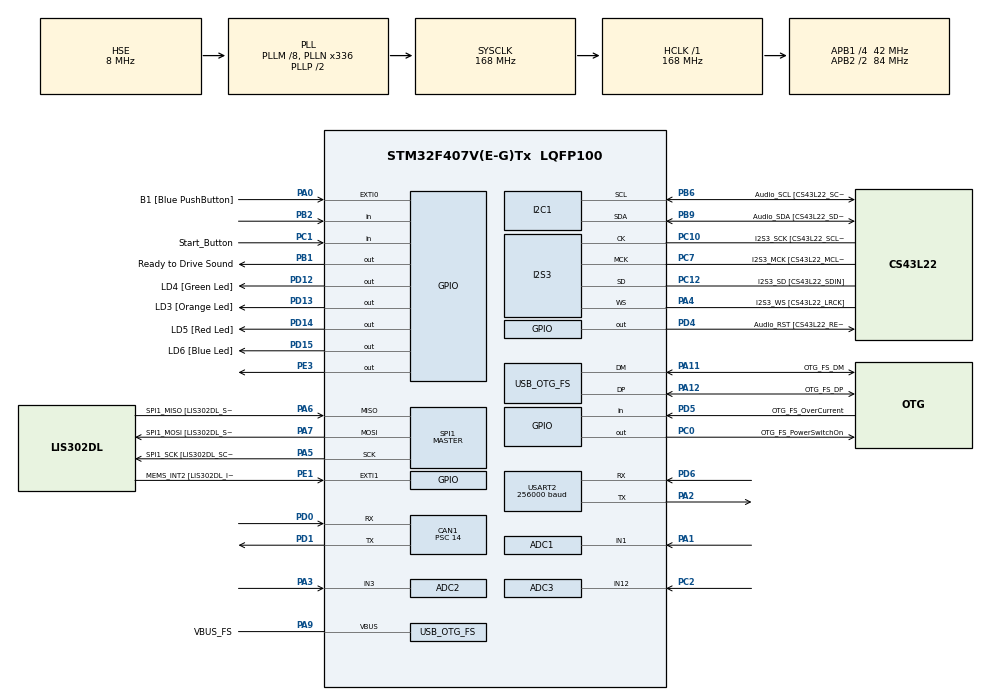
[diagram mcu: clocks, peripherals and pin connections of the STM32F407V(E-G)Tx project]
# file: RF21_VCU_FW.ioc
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ADC1.Channel-0\#ChannelRegularConversion=ADC_CHANNEL_1
ADC1.ContinuousConvMode=ENABLE
ADC1.DMAContinuousRequests=ENABLE
ADC1.NbrOfConversionFlag=1
ADC1.Rank-0\#ChannelRegularConversion=1
ADC1.SamplingTime-0\#ChannelRegularConversion=ADC_SAMPLETIME_3CYCLES
ADC1.master=1
ADC2.Channel-1\#ChannelRegularConversion=ADC_CHANNEL_3
ADC2.DMAContinuousRequests=ENABLE
ADC2.NbrOfConversionFlag=1
ADC2.Rank-1\#ChannelRegularConversion=1
ADC2.SamplingTime-1\#ChannelRegularConversion=ADC_SAMPLETIME_3CYCLES
ADC3.Channel-0\#ChannelRegularConversion=ADC_CHANNEL_12
ADC3.DMAContinuousRequests=ENABLE
ADC3.NbrOfConversionFlag=1
ADC3.Rank-0\#ChannelRegularConversion=1
ADC3.SamplingTime-0\#ChannelRegularConversion=ADC_SAMPLETIME_3CYCLES
CAN1.BS1=CAN_BS1_2TQ
CAN1.BS2=CAN_BS2_3TQ
CAN1.CalculateBaudRate=500000
CAN1.CalculateTimeBit=1999.99
CAN1.CalculateTimeQuantum=333.33333333333337
CAN1.Mode=CAN_MODE_NORMAL
CAN1.Prescaler=14
Dma.ADC1.0.Direction=DMA_PERIPH_TO_MEMORY
Dma.ADC1.0.FIFOMode=DMA_FIFOMODE_ENABLE
Dma.ADC1.0.FIFOThreshold=DMA_FIFO_THRESHOLD_FULL
Dma.ADC1.0.Instance=DMA2_Stream0
Dma.ADC1.0.MemBurst=DMA_MBURST_SINGLE
Dma.ADC1.0.MemDataAlignment=DMA_MDATAALIGN_HALFWORD
Dma.ADC1.0.MemInc=DMA_MINC_ENABLE
Dma.ADC1.0.Mode=DMA_CIRCULAR
Dma.ADC1.0.PeriphBurst=DMA_PBURST_SINGLE
Dma.ADC1.0.PeriphDataAlignment=DMA_PDATAALIGN_HALFWORD
Dma.ADC1.0.PeriphInc=DMA_PINC_DISABLE
Dma.ADC1.0.Priority=DMA_PRIORITY_LOW
Dma.ADC2.1.Direction=DMA_PERIPH_TO_MEMORY
Dma.ADC2.1.FIFOMode=DMA_FIFOMODE_ENABLE
Dma.ADC2.1.FIFOThreshold=DMA_FIFO_THRESHOLD_FULL
Dma.ADC2.1.Instance=DMA2_Stream2
Dma.ADC2.1.MemBurst=DMA_MBURST_SINGLE
Dma.ADC2.1.MemDataAlignment=DMA_MDATAALIGN_HALFWORD
Dma.ADC2.1.MemInc=DMA_MINC_ENABLE
Dma.ADC2.1.Mode=DMA_CIRCULAR
Dma.ADC2.1.PeriphBurst=DMA_PBURST_SINGLE
Dma.ADC2.1.PeriphDataAlignment=DMA_PDATAALIGN_HALFWORD
Dma.ADC2.1.PeriphInc=DMA_PINC_DISABLE
Dma.ADC2.1.Priority=DMA_PRIORITY_LOW
Dma.ADC3.2.Direction=DMA_PERIPH_TO_MEMORY
Dma.ADC3.2.FIFOMode=DMA_FIFOMODE_ENABLE
Dma.ADC3.2.FIFOThreshold=DMA_FIFO_THRESHOLD_FULL
Dma.ADC3.2.Instance=DMA2_Stream1
Dma.ADC3.2.MemBurst=DMA_MBURST_SINGLE
Dma.ADC3.2.MemDataAlignment=DMA_MDATAALIGN_HALFWORD
Dma.ADC3.2.MemInc=DMA_MINC_ENABLE
Dma.ADC3.2.Mode=DMA_CIRCULAR
Dma.ADC3.2.PeriphBurst=DMA_PBURST_SINGLE
Dma.ADC3.2.PeriphDataAlignment=DMA_PDATAALIGN_HALFWORD
Dma.ADC3.2.PeriphInc=DMA_PINC_DISABLE
Dma.ADC3.2.Priority=DMA_PRIORITY_LOW
Dma.Request0=ADC1
Dma.Request1=ADC2
Dma.Request2=ADC3
FREERTOS.Tasks01=ledTask,0,128,startLEDTask,Default,NULL,Dynamic,NULL,NULL;uartTask,0,256,startUART_Task,Default,NULL,Dynamic,NULL,NULL;Torque_Command,3,256,startTorqueCommand,Default,NULL,Dynamic,NULL,NULL;BPS_Limit_Check,2,128,startBPSCheck,Default,NULL,Dynamic,NULL,NULL
FREERTOS.Timers01=implausibility_Timer,OTCallback,osTimerOnce,Default,NULL,Dynamic,NULL
FREERTOS.configENABLE_FPU=1
FREERTOS.configUSE_NEWLIB_REENTRANT=1
FREERTOS.configUSE_TIMERS=1
I2S3.AudioFreq-Half_Duplex_Master=I2S_AUDIOFREQ_96K
I2S3.ErrorAudioFreq=-2.34 %
I2S3.ErrorAudioFreq-Half_Duplex_Master=0.8 %
I2S3.FullDuplexMode=I2S_FULLDUPLEXMODE_DISABLE
I2S3.Instance=SPI$Index
I2S3.RealAudioFreq=93.75 KHz
I2S3.RealAudioFreq-Half_Duplex_Master=96.774 KHz
I2S3.VirtualMode=I2S_MODE_MASTER
Mcu.Family=STM32F4
Mcu.Name=STM32F407V(E-G)Tx
Mcu.Package=LQFP100
NVIC.CAN1_RX0_IRQn=true\:5\:0\:false\:false\:true\:true\:true\:true
NVIC.DMA2_Stream0_IRQn=true\:5\:0\:false\:false\:true\:true\:false\:true
NVIC.DMA2_Stream1_IRQn=true\:5\:0\:false\:false\:true\:true\:false\:true
NVIC.DMA2_Stream2_IRQn=true\:5\:0\:false\:false\:true\:true\:false\:true
NVIC.OTG_FS_IRQn=true\:5\:0\:false\:false\:true\:true\:true\:true
NVIC.PriorityGroup=NVIC_PRIORITYGROUP_4
NVIC.TIM1_UP_TIM10_IRQn=true\:5\:0\:false\:false\:true\:true\:false\:true
NVIC.TimeBase=TIM1_UP_TIM10_IRQn
NVIC.TimeBaseIP=TIM1
PA0-WKUP.GPIO_Label=B1 [Blue PushButton]
PA0-WKUP.GPIO_ModeDefaultEXTI=GPIO_MODE_EVT_RISING
PA0-WKUP.GPIO_PuPd=GPIO_NOPULL
PA0-WKUP.Signal=GPXTI0
PA1.Signal=ADCx_IN1
PA10.GPIO_Label=OTG_FS_ID
PA10.GPIO_Mode=GPIO_MODE_AF_PP
PA10.GPIO_PuPd=GPIO_NOPULL
PA10.GPIO_Speed=GPIO_SPEED_FREQ_LOW
PA10.Signal=USB_OTG_FS_ID
PA11.GPIO_Label=OTG_FS_DM
PA11.GPIO_Mode=GPIO_MODE_AF_PP
PA11.GPIO_PuPd=GPIO_NOPULL
PA11.GPIO_Speed=GPIO_SPEED_FREQ_LOW
PA11.Mode=Host_Only
PA11.Signal=USB_OTG_FS_DM
PA12.GPIO_Label=OTG_FS_DP
PA12.GPIO_Mode=GPIO_MODE_AF_PP
PA12.GPIO_PuPd=GPIO_NOPULL
PA12.GPIO_Speed=GPIO_SPEED_FREQ_LOW
PA12.Mode=Host_Only
PA12.Signal=USB_OTG_FS_DP
PA13.GPIO_Label=SWDIO
PA13.Mode=Serial_Wire
PA13.Signal=SYS_JTMS-SWDIO
PA14.GPIO_Label=SWCLK
PA14.Mode=Serial_Wire
PA14.Signal=SYS_JTCK-SWCLK
PA2.Mode=Asynchronous
PA2.Signal=USART2_TX
PA3.Signal=ADCx_IN3
PA4.GPIO_Label=I2S3_WS [CS43L22_LRCK]
PA4.GPIO_Mode=GPIO_MODE_AF_PP
PA4.GPIO_PuPd=GPIO_NOPULL
PA4.GPIO_Speed=GPIO_SPEED_FREQ_LOW
PA4.Mode=Half_Duplex_Master
PA4.Signal=I2S3_WS
PA5.GPIO_Label=SPI1_SCK [LIS302DL_SCL/SPC]
PA5.GPIO_Mode=GPIO_MODE_AF_PP
PA5.GPIO_PuPd=GPIO_NOPULL
PA5.GPIO_Speed=GPIO_SPEED_FREQ_LOW
PA5.Mode=Full_Duplex_Master
PA5.Signal=SPI1_SCK
PA6.GPIO_Label=SPI1_MISO [LIS302DL_SDO]
PA6.GPIO_Mode=GPIO_MODE_AF_PP
PA6.GPIO_PuPd=GPIO_NOPULL
PA6.GPIO_Speed=GPIO_SPEED_FREQ_LOW
PA6.Mode=Full_Duplex_Master
PA6.Signal=SPI1_MISO
PA7.GPIO_Label=SPI1_MOSI [LIS302DL_SDA/SDI/SDO]
PA7.GPIO_Mode=GPIO_MODE_AF_PP
PA7.GPIO_PuPd=GPIO_NOPULL
PA7.GPIO_Speed=GPIO_SPEED_FREQ_LOW
PA7.Mode=Full_Duplex_Master
PA7.Signal=SPI1_MOSI
PA9.GPIO_Label=VBUS_FS
PA9.GPIO_Mode=GPIO_MODE_INPUT
PA9.GPIO_PuPd=GPIO_NOPULL
PA9.Mode=Activate_VBUS
PA9.Signal=USB_OTG_FS_VBUS
PB1.GPIO_Label=Ready to Drive Sound 
PB1.Signal=GPIO_Output
PB10.GPIO_Label=CLK_IN [MP45DT02_CLK]
PB10.GPIO_Mode=GPIO_MODE_AF_PP
PB10.GPIO_PuPd=GPIO_NOPULL
PB10.GPIO_Speed=GPIO_SPEED_FREQ_LOW
PB10.Signal=I2S2_CK
PB2.Signal=GPIO_Input
PB3.GPIO_Label=SWO
PB3.Signal=SYS_JTDO-SWO
PB6.GPIO_Label=Audio_SCL [CS43L22_SCL]
PB6.GPIO_Mode=GPIO_MODE_AF_OD
PB6.GPIO_Pu=GPIO_PULLUP
PB6.GPIO_PuPd=GPIO_NOPULL
PB6.GPIO_Speed=GPIO_SPEED_FREQ_LOW
PB6.Mode=I2C
PB6.Signal=I2C1_SCL
PB9.GPIO_Label=Audio_SDA [CS43L22_SDA]
PB9.GPIO_Mode=GPIO_MODE_AF_OD
PB9.GPIO_Pu=GPIO_PULLUP
PB9.GPIO_PuPd=GPIO_NOPULL
PB9.GPIO_Speed=GPIO_SPEED_FREQ_LOW
PB9.Mode=I2C
PB9.Signal=I2C1_SDA
PC0.GPIO_Label=OTG_FS_PowerSwitchOn
PC0.GPIO_PuPd=GPIO_NOPULL
PC0.GPIO_Speed=GPIO_SPEED_FREQ_LOW
PC0.PinState=GPIO_PIN_SET
PC0.Signal=GPIO_Output
PC1.GPIO_Label=Start_Button
PC1.GPIO_PuPd=GPIO_PULLUP
PC1.Signal=GPIO_Input
PC10.GPIO_Label=I2S3_SCK [CS43L22_SCLK]
PC10.GPIO_Mode=GPIO_MODE_AF_PP
PC10.GPIO_PuPd=GPIO_NOPULL
PC10.GPIO_Speed=GPIO_SPEED_FREQ_LOW
PC10.Mode=Half_Duplex_Master
PC10.Signal=I2S3_CK
PC12.GPIO_Label=I2S3_SD [CS43L22_SDIN]
PC12.GPIO_Mode=GPIO_MODE_AF_PP
PC12.GPIO_PuPd=GPIO_NOPULL
PC12.GPIO_Speed=GPIO_SPEED_FREQ_LOW
PC12.Mode=Half_Duplex_Master
PC12.Signal=I2S3_SD
PC14-OSC32_IN.GPIO_Label=PC14-OSC32_IN
PC14-OSC32_IN.Mode=LSE-External-Oscillator
PC14-OSC32_IN.Signal=RCC_OSC32_IN
PC15-OSC32_OUT.GPIO_Label=PC15-OSC32_OUT
PC15-OSC32_OUT.Mode=LSE-External-Oscillator
PC15-OSC32_OUT.Signal=RCC_OSC32_OUT
PC2.Signal=ADCx_IN12
PC3.GPIO_Label=PDM_OUT [MP45DT02_DOUT]
PC3.GPIO_Mode=GPIO_MODE_AF_PP
PC3.GPIO_PuPd=GPIO_NOPULL
PC3.GPIO_Speed=GPIO_SPEED_FREQ_LOW
PC3.Signal=I2S2_SD
PC7.GPIO_Label=I2S3_MCK [CS43L22_MCLK]
PC7.GPIO_Mode=GPIO_MODE_AF_PP
PC7.GPIO_PuPd=GPIO_NOPULL
PC7.GPIO_Speed=GPIO_SPEED_FREQ_LOW
PC7.Mode=Master_Clock_Activated
PC7.Signal=I2S3_MCK
PD0.Mode=CAN_Activate
PD0.Signal=CAN1_RX
PD1.Mode=CAN_Activate
PD1.Signal=CAN1_TX
PD12.GPIO_Label=LD4 [Green Led]
PD12.GPIO_PuPd=GPIO_NOPULL
PD12.GPIO_Speed=GPIO_SPEED_FREQ_LOW
PD12.Signal=GPIO_Output
PD13.GPIO_Label=LD3 [Orange Led]
PD13.GPIO_PuPd=GPIO_NOPULL
PD13.GPIO_Speed=GPIO_SPEED_FREQ_LOW
PD13.Signal=GPIO_Output
PD14.GPIO_Label=LD5 [Red Led]
PD14.GPIO_PuPd=GPIO_NOPULL
PD14.GPIO_Speed=GPIO_SPEED_FREQ_LOW
PD14.Signal=GPIO_Output
PD15.GPIO_Label=LD6 [Blue Led]
PD15.GPIO_PuPd=GPIO_NOPULL
PD15.GPIO_Speed=GPIO_SPEED_FREQ_LOW
PD15.Signal=GPIO_Output
PD4.GPIO_Label=Audio_RST [CS43L22_RESET]
PD4.GPIO_PuPd=GPIO_NOPULL
PD4.GPIO_Speed=GPIO_SPEED_FREQ_LOW
PD4.Signal=GPIO_Output
PD5.GPIO_Label=OTG_FS_OverCurrent
PD5.GPIO_Mode=GPIO_MODE_INPUT
PD5.GPIO_PuPd=GPIO_NOPULL
PD5.Signal=GPIO_Input
PD6.Mode=Asynchronous
PD6.Signal=USART2_RX
PE1.GPIO_Label=MEMS_INT2 [LIS302DL_INT2]
PE1.GPIO_ModeDefaultEXTI=GPIO_MODE_EVT_RISING
PE1.GPIO_PuPd=GPIO_NOPULL
PE1.Signal=GPXTI1
PE3.Signal=GPIO_Output
PH0-OSC_IN.GPIO_Label=PH0-OSC_IN
PH0-OSC_IN.Mode=HSE-External-Oscillator
PH0-OSC_IN.Signal=RCC_OSC_IN
PH1-OSC_OUT.GPIO_Label=PH1-OSC_OUT
PH1-OSC_OUT.Mode=HSE-External-Oscillator
PH1-OSC_OUT.Signal=RCC_OSC_OUT
ProjectManager.HeapSize=0x200
ProjectManager.StackSize=0x400
ProjectManager.TargetToolchain=STM32CubeIDE
RCC.48MHZClocksFreq_Value=48000000
RCC.AHBFreq_Value=168000000
RCC.APB1CLKDivider=RCC_HCLK_DIV4
RCC.APB1Freq_Value=42000000
RCC.APB1TimFreq_Value=84000000
RCC.APB2CLKDivider=RCC_HCLK_DIV2
RCC.APB2Freq_Value=84000000
RCC.APB2TimFreq_Value=168000000
RCC.CortexFreq_Value=168000000
RCC.HCLKFreq_Value=168000000
RCC.HSE_VALUE=8000000
RCC.HSI_VALUE=16000000
RCC.PLLM=8
RCC.PLLN=336
RCC.PLLQ=7
RCC.SYSCLKFreq_VALUE=168000000
RCC.SYSCLKSource=RCC_SYSCLKSOURCE_PLLCLK
RCC.VCOOutputFreq_Value=336000000
SH.ADCx_IN1.0=ADC1_IN1,IN1
SH.ADCx_IN12.0=ADC3_IN12,IN12
SH.ADCx_IN3.0=ADC2_IN3,IN3
SPI1.BaudRatePrescaler-Full_Duplex_Master=SPI_BAUDRATEPRESCALER_2
SPI1.CalculateBaudRate-Full_Duplex_Master=42.0 MBits/s
SPI1.Direction=SPI_DIRECTION_2LINES
SPI1.Mode=SPI_MODE_MASTER
SPI1.Mode-Full_Duplex_Master=SPI_MODE_MASTER
SPI1.VirtualType=VM_MASTER
TIM10.Period=65536-1
TIM10.Prescaler=1680-1
USART2.BaudRate=256000
USART2.VirtualMode=VM_ASYNC
USB_HOST.BSP.number=1
USB_HOST.USBH_HandleTypeDef-CDC_FS=hUsbHostFS
USB_HOST.USBH_USE_OS-CDC_FS=0
USB_HOST.VirtualModeFS=Cdc
USB_HOST0.BSP.STBoard=false
USB_HOST0.BSP.api=Unknown
USB_HOST0.BSP.i2caddr=0
USB_HOST0.BSP.i2creg=0
USB_HOST0.BSP.instance=PC0
USB_HOST0.BSP.ip=GPIO
USB_HOST0.BSP.mode=Output
USB_HOST0.BSP.name=Drive_VBUS_FS
USB_HOST0.BSP.solution=PC0
USB_OTG_FS.VirtualMode=Host_Only
USB_OTG_FS.phy_itface=HCD_PHY_EMBEDDED
VP_FREERTOS_VS_CMSIS_V1.Mode=CMSIS_V1
VP_SYS_VS_tim1.Mode=TIM1
VP_TIM10_VS_ClockSourceINT.Mode=Enable_Timer
VP_USB_HOST_VS_USB_HOST_CDC_FS.Mode=CDC_FS
board=STM32F407G-DISC1

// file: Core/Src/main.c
/* USER CODE BEGIN Header */
/**
 ******************************************************************************
 * @file           : main.c
 * @brief          : Main program body
 ******************************************************************************
 * @attention
 *
 * <h2><center>&copy; Copyright (c) 2021 STMicroelectronics.
 * All rights reserved.</center></h2>
 *
 * This software component is licensed by ST under Ultimate Liberty license
 * SLA0044, the "License"; You may not use this file except in compliance with
 * the License. You may obtain a copy of the License at:
 *                             www.st.com/SLA0044
 *
 ******************************************************************************
 */
/* USER CODE END Header */
#include "main.h"
#include "cmsis_os.h"
#include "usb_host.h"
#include "usb_host.h"

/* USER CODE BEGIN Includes */
#include <string.h>
#include <stdio.h>
#include <stdbool.h>
#include <stdlib.h>
/* USER CODE END Includes */

/* USER CODE BEGIN PD */
const uint32_t bpsThreshold = 3500; //need to set to store the signal value which corresponds to brakes being pressed
const uint32_t bps_MIN = 500; //Below range ADC value for BPS
const uint32_t bps_MAX = 3900; //Above range ADC value for BPS
const uint32_t APPS_0_MIN = 200; //Below range ADC value for APPS_0
const uint32_t APPS_0_MAX = 2800; //Above range ADC value for APPS_0
const uint32_t APPS_1_MIN = 400; //Below range ADC value for APPS_1
const uint32_t APPS_1_MAX = 3900; //Above range ADC value for APPS_1
/* USER CODE END PD */

ADC_HandleTypeDef hadc1;
ADC_HandleTypeDef hadc2;
ADC_HandleTypeDef hadc3;
DMA_HandleTypeDef hdma_adc1;
DMA_HandleTypeDef hdma_adc2;
DMA_HandleTypeDef hdma_adc3;

CAN_HandleTypeDef hcan1;

I2C_HandleTypeDef hi2c1;

I2S_HandleTypeDef hi2s3;

SPI_HandleTypeDef hspi1;

TIM_HandleTypeDef htim10;

UART_HandleTypeDef huart2;

osThreadId ledTaskHandle;
osThreadId uartTaskHandle;
osThreadId Torque_CommandHandle;
osThreadId BPS_Limit_CheckHandle;
osTimerId implausibility_TimerHandle;
/* USER CODE BEGIN PV */
uint32_t appsVal[2]; //to store APPS ADC values

uint32_t bpsVal[2]; //to store Brake Pressure Sensor values

bool ready_to_drive = false;

bool APPS_Failure = false;
bool implausibility = false;

uint16_t timer_100ms;

/* USER CODE END PV */

void SystemClock_Config(void);
static void MX_GPIO_Init(void);
static void MX_I2C1_Init(void);
static void MX_I2S3_Init(void);
static void MX_SPI1_Init(void);
static void MX_DMA_Init(void);
static void MX_ADC1_Init(void);
static void MX_USART2_UART_Init(void);
static void MX_ADC2_Init(void);
static void MX_ADC3_Init(void);
static void MX_CAN1_Init(void);
static void MX_TIM10_Init(void);
void startLEDTask(void const *argument);
void startUART_Task(void const *argument);
void startTorqueCommand(void const *argument);
void startBPSCheck(void const *argument);
void OTCallback(void const *argument);

/* USER CODE BEGIN PFP */
static bool Ready_to_Drive(void);
static void APPS_Mapping(uint32_t *appsVal_0, uint32_t *appsVal_1,
		uint32_t apps_PP[]);
/* USER CODE END PFP */

/* USER CODE BEGIN 0 */
CAN_TxHeaderTypeDef TxHeader;
CAN_RxHeaderTypeDef RxHeader;

uint8_t TxData[8];
uint8_t RxData[8];

uint32_t TxMailbox;

void HAL_CAN_RxFifo0MsgPendingCallback(CAN_HandleTypeDef *hcan) {

	if (HAL_CAN_GetRxMessage(hcan, CAN_RX_FIFO0, &RxHeader, RxData) != HAL_OK) {
		Error_Handler();
	}
	HAL_GPIO_WritePin(GPIOD, LD3_Pin, GPIO_PIN_SET);
}

/* USER CODE END 0 */

int main(void) {

	/* MCU Configuration--------------------------------------------------------*/

	/* Reset of all peripherals, Initializes the Flash interface and the Systick. */
	HAL_Init();

	/* Configure the system clock */
	SystemClock_Config();

	/* Initialize all configured peripherals */
	MX_GPIO_Init();
	MX_I2C1_Init();
	MX_I2S3_Init();
	MX_SPI1_Init();
	MX_DMA_Init();
	MX_ADC1_Init();
	MX_USART2_UART_Init();
	MX_ADC2_Init();
	MX_ADC3_Init();
	MX_CAN1_Init();
	MX_TIM10_Init();
	/* USER CODE BEGIN 2 */
	HAL_ADC_Start_DMA(&hadc1, &appsVal[0], 1); //start the ADC for APPS 1 (Linear Sensor) in DMA mode
	HAL_ADC_Start_DMA(&hadc3, &bpsVal[0], 1); //start the ADC for Brake Pressure Sensors in DMA mode
	HAL_ADC_Start_DMA(&hadc2, &appsVal[1], 1); //start the ADC for APPS 2 (Rotational Sensor) in DMA mode

	//Start the CAN Bus
	HAL_CAN_Start(&hcan1);

	//Initialize the CAN RX Interrupt
	if (HAL_CAN_ActivateNotification(&hcan1, CAN_IT_RX_FIFO0_MSG_PENDING)
			!= HAL_OK) {
		Error_Handler();
	}

	//Setting Required Data Values for CAN frame
	TxHeader.DLC = 8;	//data length in bytes
	TxHeader.ExtId = 0;
	TxHeader.IDE = CAN_ID_STD; //specify standard CAN ID
	TxHeader.RTR = CAN_RTR_DATA; //specifies we are sending a CAN frame
	TxHeader.StdId = 0x21;	//CAN ID of this device
	TxHeader.TransmitGlobalTime = DISABLE;

//	Ready to Drive check (returns true if ready and false if not ready)
//	ready_to_drive = Ready_to_Drive();
//
//	if(ready_to_drive) {
//		HAL_GPIO_TogglePin(GPIOD, LD5_Pin);
//	}

	/* USER CODE END 2 */

	/* Create the timer(s) */
	/* definition and creation of implausibility_Timer */
	osTimerDef(implausibility_Timer, OTCallback);
	implausibility_TimerHandle = osTimerCreate(osTimer(implausibility_Timer),
			osTimerOnce, NULL);

	/* Create the thread(s) */
	/* definition and creation of ledTask */
	osThreadDef(ledTask, startLEDTask, osPriorityNormal, 0, 128);
	ledTaskHandle = osThreadCreate(osThread(ledTask), NULL);

	/* definition and creation of uartTask */
	osThreadDef(uartTask, startUART_Task, osPriorityNormal, 0, 256);
	uartTaskHandle = osThreadCreate(osThread(uartTask), NULL);

	/* definition and creation of Torque_Command */
	osThreadDef(Torque_Command, startTorqueCommand, osPriorityRealtime, 0, 256);
	Torque_CommandHandle = osThreadCreate(osThread(Torque_Command), NULL);

	/* definition and creation of BPS_Limit_Check */
	osThreadDef(BPS_Limit_Check, startBPSCheck, osPriorityHigh, 0, 128);
	BPS_Limit_CheckHandle = osThreadCreate(osThread(BPS_Limit_Check), NULL);

	/* Start scheduler */
	osKernelStart();

	/* We should never get here as control is now taken by the scheduler */
	/* Infinite loop */
	while (1) {

	}
}

void SystemClock_Config(void) {
	RCC_OscInitTypeDef RCC_OscInitStruct = { 0 };
	RCC_ClkInitTypeDef RCC_ClkInitStruct = { 0 };

	/** Configure the main internal regulator output voltage
	 */
	__HAL_RCC_PWR_CLK_ENABLE();
	__HAL_PWR_VOLTAGESCALING_CONFIG(PWR_REGULATOR_VOLTAGE_SCALE1);
	/** Initializes the RCC Oscillators according to the specified parameters
	 * in the RCC_OscInitTypeDef structure.
	 */
	RCC_OscInitStruct.OscillatorType = RCC_OSCILLATORTYPE_HSE;
	RCC_OscInitStruct.HSEState = RCC_HSE_ON;
	RCC_OscInitStruct.PLL.PLLState = RCC_PLL_ON;
	RCC_OscInitStruct.PLL.PLLSource = RCC_PLLSOURCE_HSE;
	RCC_OscInitStruct.PLL.PLLM = 8;
	RCC_OscInitStruct.PLL.PLLN = 336;
	RCC_OscInitStruct.PLL.PLLP = RCC_PLLP_DIV2;
	RCC_OscInitStruct.PLL.PLLQ = 7;
	if (HAL_RCC_OscConfig(&RCC_OscInitStruct) != HAL_OK) {
		Error_Handler();
	}
	/** Initializes the CPU, AHB and APB buses clocks
	 */
	RCC_ClkInitStruct.ClockType = RCC_CLOCKTYPE_HCLK | RCC_CLOCKTYPE_SYSCLK
			| RCC_CLOCKTYPE_PCLK1 | RCC_CLOCKTYPE_PCLK2;
	RCC_ClkInitStruct.SYSCLKSource = RCC_SYSCLKSOURCE_PLLCLK;
	RCC_ClkInitStruct.AHBCLKDivider = RCC_SYSCLK_DIV1;
	RCC_ClkInitStruct.APB1CLKDivider = RCC_HCLK_DIV4;
	RCC_ClkInitStruct.APB2CLKDivider = RCC_HCLK_DIV2;

	if (HAL_RCC_ClockConfig(&RCC_ClkInitStruct, FLASH_LATENCY_5) != HAL_OK) {
		Error_Handler();
	}
}

static void MX_ADC1_Init(void) {

	ADC_ChannelConfTypeDef sConfig = { 0 };

	/** Configure the global features of the ADC (Clock, Resolution, Data Alignment and number of conversion)
	 */
	hadc1.Instance = ADC1;
	hadc1.Init.ClockPrescaler = ADC_CLOCK_SYNC_PCLK_DIV4;
	hadc1.Init.Resolution = ADC_RESOLUTION_12B;
	hadc1.Init.ScanConvMode = DISABLE;
	hadc1.Init.ContinuousConvMode = ENABLE;
	hadc1.Init.DiscontinuousConvMode = DISABLE;
	hadc1.Init.ExternalTrigConvEdge = ADC_EXTERNALTRIGCONVEDGE_NONE;
	hadc1.Init.ExternalTrigConv = ADC_SOFTWARE_START;
	hadc1.Init.DataAlign = ADC_DATAALIGN_RIGHT;
	hadc1.Init.NbrOfConversion = 1;
	hadc1.Init.DMAContinuousRequests = ENABLE;
	hadc1.Init.EOCSelection = ADC_EOC_SINGLE_CONV;
	if (HAL_ADC_Init(&hadc1) != HAL_OK) {
		Error_Handler();
	}
	/** Configure for the selected ADC regular channel its corresponding rank in the sequencer and its sample time.
	 */
	sConfig.Channel = ADC_CHANNEL_1;
	sConfig.Rank = 1;
	sConfig.SamplingTime = ADC_SAMPLETIME_3CYCLES;
	if (HAL_ADC_ConfigChannel(&hadc1, &sConfig) != HAL_OK) {
		Error_Handler();
	}

}

static void MX_ADC2_Init(void) {

	ADC_ChannelConfTypeDef sConfig = { 0 };

	/** Configure the global features of the ADC (Clock, Resolution, Data Alignment and number of conversion)
	 */
	hadc2.Instance = ADC2;
	hadc2.Init.ClockPrescaler = ADC_CLOCK_SYNC_PCLK_DIV4;
	hadc2.Init.Resolution = ADC_RESOLUTION_12B;
	hadc2.Init.ScanConvMode = DISABLE;
	hadc2.Init.ContinuousConvMode = ENABLE;
	hadc2.Init.DiscontinuousConvMode = DISABLE;
	hadc2.Init.ExternalTrigConvEdge = ADC_EXTERNALTRIGCONVEDGE_NONE;
	hadc2.Init.ExternalTrigConv = ADC_SOFTWARE_START;
	hadc2.Init.DataAlign = ADC_DATAALIGN_RIGHT;
	hadc2.Init.NbrOfConversion = 1;
	hadc2.Init.DMAContinuousRequests = ENABLE;
	hadc2.Init.EOCSelection = ADC_EOC_SINGLE_CONV;
	if (HAL_ADC_Init(&hadc2) != HAL_OK) {
		Error_Handler();
	}
	/** Configure for the selected ADC regular channel its corresponding rank in the sequencer and its sample time.
	 */
	sConfig.Channel = ADC_CHANNEL_3;
	sConfig.Rank = 1;
	sConfig.SamplingTime = ADC_SAMPLETIME_3CYCLES;
	if (HAL_ADC_ConfigChannel(&hadc2, &sConfig) != HAL_OK) {
		Error_Handler();
	}

}

static void MX_ADC3_Init(void) {

	ADC_ChannelConfTypeDef sConfig = { 0 };

	/** Configure the global features of the ADC (Clock, Resolution, Data Alignment and number of conversion)
	 */
	hadc3.Instance = ADC3;
	hadc3.Init.ClockPrescaler = ADC_CLOCK_SYNC_PCLK_DIV4;
	hadc3.Init.Resolution = ADC_RESOLUTION_12B;
	hadc3.Init.ScanConvMode = DISABLE;
	hadc3.Init.ContinuousConvMode = ENABLE;
	hadc3.Init.DiscontinuousConvMode = DISABLE;
	hadc3.Init.ExternalTrigConvEdge = ADC_EXTERNALTRIGCONVEDGE_NONE;
	hadc3.Init.ExternalTrigConv = ADC_SOFTWARE_START;
	hadc3.Init.DataAlign = ADC_DATAALIGN_RIGHT;
	hadc3.Init.NbrOfConversion = 1;
	hadc3.Init.DMAContinuousRequests = ENABLE;
	hadc3.Init.EOCSelection = ADC_EOC_SINGLE_CONV;
	if (HAL_ADC_Init(&hadc3) != HAL_OK) {
		Error_Handler();
	}
	/** Configure for the selected ADC regular channel its corresponding rank in the sequencer and its sample time.
	 */
	sConfig.Channel = ADC_CHANNEL_12;
	sConfig.Rank = 1;
	sConfig.SamplingTime = ADC_SAMPLETIME_3CYCLES;
	if (HAL_ADC_ConfigChannel(&hadc3, &sConfig) != HAL_OK) {
		Error_Handler();
	}

}

static void MX_CAN1_Init(void) {

	hcan1.Instance = CAN1;
	hcan1.Init.Prescaler = 14;
	hcan1.Init.Mode = CAN_MODE_NORMAL;
	hcan1.Init.SyncJumpWidth = CAN_SJW_1TQ;
	hcan1.Init.TimeSeg1 = CAN_BS1_2TQ;
	hcan1.Init.TimeSeg2 = CAN_BS2_3TQ;
	hcan1.Init.TimeTriggeredMode = DISABLE;
	hcan1.Init.AutoBusOff = DISABLE;
	hcan1.Init.AutoWakeUp = DISABLE;
	hcan1.Init.AutoRetransmission = DISABLE;
	hcan1.Init.ReceiveFifoLocked = DISABLE;
	hcan1.Init.TransmitFifoPriority = DISABLE;
	if (HAL_CAN_Init(&hcan1) != HAL_OK) {
		Error_Handler();
	}
	/* USER CODE BEGIN CAN1_Init 2 */
	CAN_FilterTypeDef canfilterconfig;
	canfilterconfig.FilterActivation = CAN_FILTER_ENABLE;
	canfilterconfig.FilterBank = 0;
	canfilterconfig.FilterFIFOAssignment = CAN_RX_FIFO0;
	canfilterconfig.FilterIdHigh = 0;
	canfilterconfig.FilterIdLow = 0x0000;
	canfilterconfig.FilterMaskIdHigh = 0;
	canfilterconfig.FilterMaskIdLow = 0x0000;
	canfilterconfig.FilterMode = CAN_FILTERMODE_IDMASK;
	canfilterconfig.FilterScale = CAN_FILTERSCALE_32BIT;
	canfilterconfig.SlaveStartFilterBank = 0; // how many filters to assign to the CAN1 (master can)

	HAL_CAN_ConfigFilter(&hcan1, &canfilterconfig);
	/* USER CODE END CAN1_Init 2 */

}

static void MX_I2C1_Init(void) {

	hi2c1.Instance = I2C1;
	hi2c1.Init.ClockSpeed = 100000;
	hi2c1.Init.DutyCycle = I2C_DUTYCYCLE_2;
	hi2c1.Init.OwnAddress1 = 0;
	hi2c1.Init.AddressingMode = I2C_ADDRESSINGMODE_7BIT;
	hi2c1.Init.DualAddressMode = I2C_DUALADDRESS_DISABLE;
	hi2c1.Init.OwnAddress2 = 0;
	hi2c1.Init.GeneralCallMode = I2C_GENERALCALL_DISABLE;
	hi2c1.Init.NoStretchMode = I2C_NOSTRETCH_DISABLE;
	if (HAL_I2C_Init(&hi2c1) != HAL_OK) {
		Error_Handler();
	}

}

static void MX_I2S3_Init(void) {

	hi2s3.Instance = SPI3;
	hi2s3.Init.Mode = I2S_MODE_MASTER_TX;
	hi2s3.Init.Standard = I2S_STANDARD_PHILIPS;
	hi2s3.Init.DataFormat = I2S_DATAFORMAT_16B;
	hi2s3.Init.MCLKOutput = I2S_MCLKOUTPUT_ENABLE;
	hi2s3.Init.AudioFreq = I2S_AUDIOFREQ_96K;
	hi2s3.Init.CPOL = I2S_CPOL_LOW;
	hi2s3.Init.ClockSource = I2S_CLOCK_PLL;
	hi2s3.Init.FullDuplexMode = I2S_FULLDUPLEXMODE_DISABLE;
	if (HAL_I2S_Init(&hi2s3) != HAL_OK) {
		Error_Handler();
	}

}

static void MX_SPI1_Init(void) {

	/* SPI1 parameter configuration*/
	hspi1.Instance = SPI1;
	hspi1.Init.Mode = SPI_MODE_MASTER;
	hspi1.Init.Direction = SPI_DIRECTION_2LINES;
	hspi1.Init.DataSize = SPI_DATASIZE_8BIT;
	hspi1.Init.CLKPolarity = SPI_POLARITY_LOW;
	hspi1.Init.CLKPhase = SPI_PHASE_1EDGE;
	hspi1.Init.NSS = SPI_NSS_SOFT;
	hspi1.Init.BaudRatePrescaler = SPI_BAUDRATEPRESCALER_2;
	hspi1.Init.FirstBit = SPI_FIRSTBIT_MSB;
	hspi1.Init.TIMode = SPI_TIMODE_DISABLE;
	hspi1.Init.CRCCalculation = SPI_CRCCALCULATION_DISABLE;
	hspi1.Init.CRCPolynomial = 10;
	if (HAL_SPI_Init(&hspi1) != HAL_OK) {
		Error_Handler();
	}

}

static void MX_TIM10_Init(void) {

	htim10.Instance = TIM10;
	htim10.Init.Prescaler = 1680 - 1;
	htim10.Init.CounterMode = TIM_COUNTERMODE_UP;
	htim10.Init.Period = 65536 - 1;
	htim10.Init.ClockDivision = TIM_CLOCKDIVISION_DIV1;
	htim10.Init.AutoReloadPreload = TIM_AUTORELOAD_PRELOAD_DISABLE;
	if (HAL_TIM_Base_Init(&htim10) != HAL_OK) {
		Error_Handler();
	}

}

static void MX_USART2_UART_Init(void) {

	huart2.Instance = USART2;
	huart2.Init.BaudRate = 256000;
	huart2.Init.WordLength = UART_WORDLENGTH_8B;
	huart2.Init.StopBits = UART_STOPBITS_1;
	huart2.Init.Parity = UART_PARITY_NONE;
	huart2.Init.Mode = UART_MODE_TX_RX;
	huart2.Init.HwFlowCtl = UART_HWCONTROL_NONE;
	huart2.Init.OverSampling = UART_OVERSAMPLING_16;
	if (HAL_UART_Init(&huart2) != HAL_OK) {
		Error_Handler();
	}

}

static void MX_DMA_Init(void) {

	/* DMA controller clock enable */
	__HAL_RCC_DMA2_CLK_ENABLE();

	/* DMA interrupt init */
	/* DMA2_Stream0_IRQn interrupt configuration */
	HAL_NVIC_SetPriority(DMA2_Stream0_IRQn, 5, 0);
	HAL_NVIC_EnableIRQ(DMA2_Stream0_IRQn);
	/* DMA2_Stream1_IRQn interrupt configuration */
	HAL_NVIC_SetPriority(DMA2_Stream1_IRQn, 5, 0);
	HAL_NVIC_EnableIRQ(DMA2_Stream1_IRQn);
	/* DMA2_Stream2_IRQn interrupt configuration */
	HAL_NVIC_SetPriority(DMA2_Stream2_IRQn, 5, 0);
	HAL_NVIC_EnableIRQ(DMA2_Stream2_IRQn);

}

static void MX_GPIO_Init(void) {
	GPIO_InitTypeDef GPIO_InitStruct = { 0 };

	/* GPIO Ports Clock Enable */
	__HAL_RCC_GPIOE_CLK_ENABLE();
	__HAL_RCC_GPIOC_CLK_ENABLE();
	__HAL_RCC_GPIOH_CLK_ENABLE();
	__HAL_RCC_GPIOA_CLK_ENABLE();
	__HAL_RCC_GPIOB_CLK_ENABLE();
	__HAL_RCC_GPIOD_CLK_ENABLE();

	/*Configure GPIO pin Output Level */
	HAL_GPIO_WritePin(GPIOE, GPIO_PIN_3, GPIO_PIN_RESET);

	/*Configure GPIO pin Output Level */
	HAL_GPIO_WritePin(OTG_FS_PowerSwitchOn_GPIO_Port, OTG_FS_PowerSwitchOn_Pin,
			GPIO_PIN_SET);

	/*Configure GPIO pin Output Level */
	HAL_GPIO_WritePin(Ready_to_Drive_Sound_GPIO_Port, Ready_to_Drive_Sound_Pin,
			GPIO_PIN_RESET);

	/*Configure GPIO pin Output Level */
	HAL_GPIO_WritePin(GPIOD,
			LD4_Pin | LD3_Pin | LD5_Pin | LD6_Pin | Audio_RST_Pin,
			GPIO_PIN_RESET);

	/*Configure GPIO pin : PE3 */
	GPIO_InitStruct.Pin = GPIO_PIN_3;
	GPIO_InitStruct.Mode = GPIO_MODE_OUTPUT_PP;
	GPIO_InitStruct.Pull = GPIO_NOPULL;
	GPIO_InitStruct.Speed = GPIO_SPEED_FREQ_LOW;
	HAL_GPIO_Init(GPIOE, &GPIO_InitStruct);

	/*Configure GPIO pin : OTG_FS_PowerSwitchOn_Pin */
	GPIO_InitStruct.Pin = OTG_FS_PowerSwitchOn_Pin;
	GPIO_InitStruct.Mode = GPIO_MODE_OUTPUT_PP;
	GPIO_InitStruct.Pull = GPIO_NOPULL;
	GPIO_InitStruct.Speed = GPIO_SPEED_FREQ_LOW;
	HAL_GPIO_Init(OTG_FS_PowerSwitchOn_GPIO_Port, &GPIO_InitStruct);

	/*Configure GPIO pin : Start_Button_Pin */
	GPIO_InitStruct.Pin = Start_Button_Pin;
	GPIO_InitStruct.Mode = GPIO_MODE_INPUT;
	GPIO_InitStruct.Pull = GPIO_PULLUP;
	HAL_GPIO_Init(Start_Button_GPIO_Port, &GPIO_InitStruct);

	/*Configure GPIO pin : PDM_OUT_Pin */
	GPIO_InitStruct.Pin = PDM_OUT_Pin;
	GPIO_InitStruct.Mode = GPIO_MODE_AF_PP;
	GPIO_InitStruct.Pull = GPIO_NOPULL;
	GPIO_InitStruct.Speed = GPIO_SPEED_FREQ_LOW;
	GPIO_InitStruct.Alternate = GPIO_AF5_SPI2;
	HAL_GPIO_Init(PDM_OUT_GPIO_Port, &GPIO_InitStruct);

	/*Configure GPIO pin : B1_Pin */
	GPIO_InitStruct.Pin = B1_Pin;
	GPIO_InitStruct.Mode = GPIO_MODE_EVT_RISING;
	GPIO_InitStruct.Pull = GPIO_NOPULL;
	HAL_GPIO_Init(B1_GPIO_Port, &GPIO_InitStruct);

	/*Configure GPIO pin : Ready_to_Drive_Sound_Pin */
	GPIO_InitStruct.Pin = Ready_to_Drive_Sound_Pin;
	GPIO_InitStruct.Mode = GPIO_MODE_OUTPUT_PP;
	GPIO_InitStruct.Pull = GPIO_NOPULL;
	GPIO_InitStruct.Speed = GPIO_SPEED_FREQ_LOW;
	HAL_GPIO_Init(Ready_to_Drive_Sound_GPIO_Port, &GPIO_InitStruct);

	/*Configure GPIO pin : PB2 */
	GPIO_InitStruct.Pin = GPIO_PIN_2;
	GPIO_InitStruct.Mode = GPIO_MODE_INPUT;
	GPIO_InitStruct.Pull = GPIO_NOPULL;
	HAL_GPIO_Init(GPIOB, &GPIO_InitStruct);

	/*Configure GPIO pin : CLK_IN_Pin */
	GPIO_InitStruct.Pin = CLK_IN_Pin;
	GPIO_InitStruct.Mode = GPIO_MODE_AF_PP;
	GPIO_InitStruct.Pull = GPIO_NOPULL;
	GPIO_InitStruct.Speed = GPIO_SPEED_FREQ_LOW;
	GPIO_InitStruct.Alternate = GPIO_AF5_SPI2;
	HAL_GPIO_Init(CLK_IN_GPIO_Port, &GPIO_InitStruct);

	/*Configure GPIO pins : LD4_Pin LD3_Pin LD5_Pin LD6_Pin
	 Audio_RST_Pin */
	GPIO_InitStruct.Pin = LD4_Pin | LD3_Pin | LD5_Pin | LD6_Pin | Audio_RST_Pin;
	GPIO_InitStruct.Mode = GPIO_MODE_OUTPUT_PP;
	GPIO_InitStruct.Pull = GPIO_NOPULL;
	GPIO_InitStruct.Speed = GPIO_SPEED_FREQ_LOW;
	HAL_GPIO_Init(GPIOD, &GPIO_InitStruct);

	/*Configure GPIO pin : OTG_FS_OverCurrent_Pin */
	GPIO_InitStruct.Pin = OTG_FS_OverCurrent_Pin;
	GPIO_InitStruct.Mode = GPIO_MODE_INPUT;
	GPIO_InitStruct.Pull = GPIO_NOPULL;
	HAL_GPIO_Init(OTG_FS_OverCurrent_GPIO_Port, &GPIO_InitStruct);

	/*Configure GPIO pin : MEMS_INT2_Pin */
	GPIO_InitStruct.Pin = MEMS_INT2_Pin;
	GPIO_InitStruct.Mode = GPIO_MODE_EVT_RISING;
	GPIO_InitStruct.Pull = GPIO_NOPULL;
	HAL_GPIO_Init(MEMS_INT2_GPIO_Port, &GPIO_InitStruct);

}

/* USER CODE BEGIN 4 */
static bool Ready_to_Drive(void) {

	for (;;) {
		//checking if brakes are pressed & start button is pressed at the same time
		if ((bpsVal[0] >= bpsThreshold)
				&& (!HAL_GPIO_ReadPin(GPIOC, Start_Button_Pin))) {
			//sound buzzer for minimum of 1 second and maximum of 3 seconds using timer
			HAL_GPIO_WritePin(Ready_to_Drive_Sound_GPIO_Port,
			Ready_to_Drive_Sound_Pin, GPIO_PIN_SET);
			HAL_Delay(2000); //sound buzzer for 2 seconds
			HAL_GPIO_WritePin(Ready_to_Drive_Sound_GPIO_Port,
			Ready_to_Drive_Sound_Pin, GPIO_PIN_RESET);
			return true;
		} //end if

	} //end for loop

	return false; //shouldn't get to here

} //end Ready_to_Drive()

static void APPS_Mapping(uint32_t *appsVal_0, uint32_t *appsVal_1,
		uint32_t apps_PP[]) {

	apps_PP[0] = 0.0518 * (*appsVal_0) - 29.53;

	if (apps_PP[0] < 0) {
		apps_PP[0] = 0;
	}
	if (apps_PP[0] > 100) {
		apps_PP[0] = 100;
	}

	apps_PP[1] = 0.038 * (*appsVal_1) - 35.25;

	if (apps_PP[1] < 0) {
		apps_PP[1] = 0;
	}
	if (apps_PP[1] > 100) {
		apps_PP[1] = 100;
	}

} //end APPS_Mapping()

/* USER CODE END 4 */

void startLEDTask(void const *argument) {
	/* init code for USB_HOST */
	MX_USB_HOST_Init();
	/* USER CODE BEGIN 5 */
	/* Infinite loop */
	for (;;) {
		HAL_GPIO_TogglePin(GPIOD, LD4_Pin);
		osDelay(1000);
	}
	/* USER CODE END 5 */
}

void startUART_Task(void const *argument) {
	/* USER CODE BEGIN startUART_Task */
	char startBtn[16] = "";
	char msg[256];
	uint32_t apps_PP[2]; //to store APPS Pedal Position Values (in %)

	/* Infinite loop */
	for (;;) {
		if (!HAL_GPIO_ReadPin(GPIOC, Start_Button_Pin)) {
			strcpy(startBtn, "Pressed");
		} else {
			strcpy(startBtn, "Not Pressed");
		}

		APPS_Mapping(&appsVal[0], &appsVal[1], apps_PP);

		//send out APPS values + APPS Pedal Position over UART
		sprintf(msg,
				"APPS_1 = %lu \t APPS_2 = %lu \t PP1 = %lu \t PP2 = %lu \r\n",
				appsVal[0], appsVal[1], apps_PP[0], apps_PP[1]);
		HAL_UART_Transmit(&huart2, (uint8_t*) msg, strlen(msg), HAL_MAX_DELAY);
		osDelay(100);

	}
	/* USER CODE END startUART_Task */
}

void startTorqueCommand(void const *argument) {
	/* USER CODE BEGIN startTorqueCommand */
	uint32_t apps_PP[2]; //to store APPS Pedal Position Values (in %)

	//First need to send Drive Enable command in order to gain control over the motor controller
	//Motor controller will timeout if it dosn't receive Drive Enable command or dosn't periodically receive Set Current command
	//We can send the Drive Enable command once and then periodically send Set Current command to prevent it from timing out.
	TxData[0] = 0x24; //Message ID for "Drive Enable" for motor controller
	TxData[1] = 0x1F; //Node ID for Standard CAN message
	TxData[2] = 1; // 1: TRUE enables drive, 0: FALSE disables drive

//	if (HAL_CAN_AddTxMessage(&hcan1, &TxHeader, TxData, &TxMailbox) != HAL_OK) {
//		Error_Handler();
//	}

	/* Infinite loop */
	for (;;) {
		HAL_GPIO_TogglePin(GPIOD, LD5_Pin);

		if ((appsVal[0] < APPS_0_MIN) || (appsVal[0] > APPS_0_MAX)) {
			//shutdown power to motor
			APPS_Failure = true;
			//need to send out CAN message to set motor torque to zero
		}

		if ((appsVal[1] < APPS_1_MIN) || (appsVal[1] > APPS_1_MAX)) {
			//shutdown power to motor
			APPS_Failure = true;
			//need to send out CAN message to set motor torque to zero
		}

		else {
			APPS_Failure = false;

			APPS_Mapping(&appsVal[0], &appsVal[1], apps_PP);

			if (abs(apps_PP[0] - apps_PP[1]) <= 10) {
				//reset the 100ms timer if started since there is no >10% implausibility
				HAL_TIM_Base_Stop(&htim10);
				timer_100ms = 0;
				implausibility = false;
				//osTimerStop(implausibility_TimerHandle);

				//Broadcast messages sent to motor controller to control motor torque
				TxData[0] = 0x1A; //Message ID for "Set AC Current" for motor controller
				TxData[1] = 0x1F; //Node ID for Standard CAN message
				TxData[2] = 10 * apps_PP[0]; //Will take the linear sensor as the primary sensor for sending signals to motor controller. (Needs to be scaled by 10 first)

				if (!APPS_Failure) {
					//Send out CAN message
//			if (HAL_CAN_AddTxMessage(&hcan1, &TxHeader, TxData, &TxMailbox)
//					!= HAL_OK) {
//				Error_Handler();
//			} //end if

				} //end if

				/**
				 * Need to send CAN messages before motor controller times out
				 * Recommended settings are to send out CAN message every half the timeout
				 * period. I.e if timeout period is 1000ms, then send a CAN message every 500ms.
				 * Need to configure actual timeout period for motor controller using DTI tool.
				 * We will set it to 50ms for now.
				 */

			} //end if

			else {
				//HAL_GPIO_TogglePin(GPIOD, LD6_Pin);
				//osDelay(25);
				//HAL_GPIO_TogglePin(GPIOD, LD6_Pin);
				//osTimerStart(implausibility_TimerHandle, 100);
				//Should only get here if there is a >10% difference between APPS

				// check to see if timer has run for >100ms then send CAN message to set motor torque to zero
				if(implausibility) {
					if (__HAL_TIM_GET_COUNTER(&htim10) - timer_100ms >= 10000) {
						//shutdown power to motor
					}
					else {
						continue; //go back to beginning of loop (not sure if needed)
					}
				}//end if
				else {
				//start 100ms timer if not started
				HAL_TIM_Base_Start(&htim10);
				timer_100ms = __HAL_TIM_GET_COUNTER(&htim10);
				implausibility = true;

				}//end else

			} //end else

		} //end else

		osDelay(50); //May need to reduce the delay between sending out CAN messages
	}
	/* USER CODE END startTorqueCommand */
}

void startBPSCheck(void const *argument) {
	/* USER CODE BEGIN startBPSCheck */
	/* Infinite loop */
	for (;;) {
		if ((bpsVal[0] < bps_MIN) || (bpsVal[0] > bps_MAX)) {
			//Shutdown power to motor
			//osThreadSuspend(Torque_CommandHandle);
		}

		osDelay(100);
	}
	/* USER CODE END startBPSCheck */
}

/* OTCallback function */
void OTCallback(void const *argument) {
	/* USER CODE BEGIN OTCallback */
//not getting called properly after 100ms of implausibility
//	HAL_GPIO_TogglePin(GPIOD, LD5_Pin);
//	osDelay(25);
//	HAL_GPIO_TogglePin(GPIOD, LD5_Pin);
//once 100ms timer expires, shutdown power to motor
	/* USER CODE END OTCallback */
}

void HAL_TIM_PeriodElapsedCallback(TIM_HandleTypeDef *htim) {
	if (htim->Instance == TIM1) {
		HAL_IncTick();
	}
}

void Error_Handler(void) {
	__disable_irq();
	while (1) {
	}
}

/************************ (C) COPYRIGHT STMicroelectronics *****END OF FILE****/
